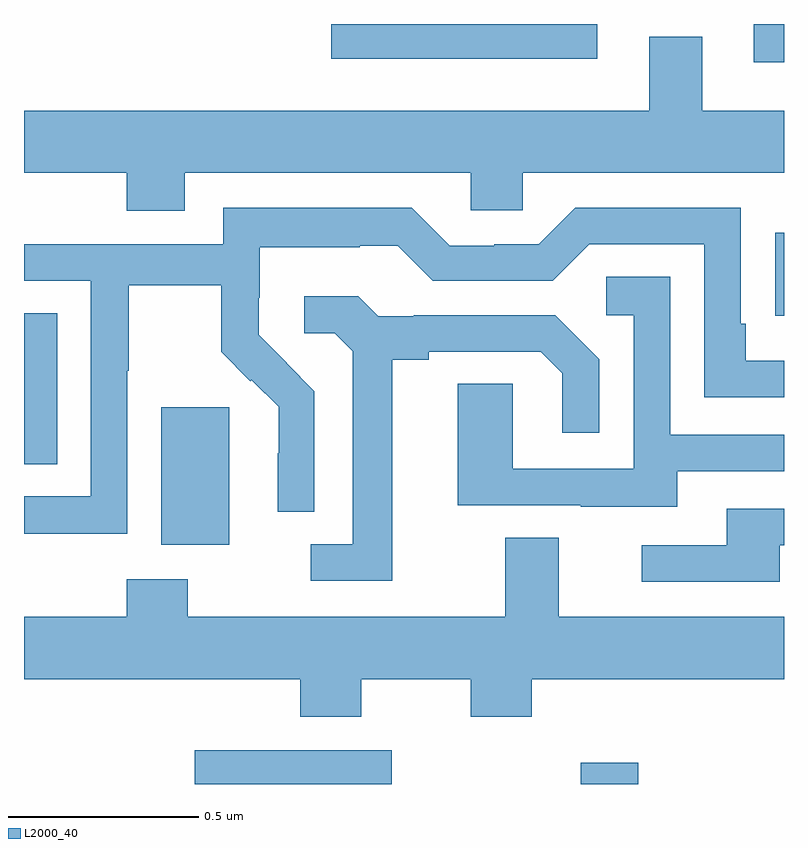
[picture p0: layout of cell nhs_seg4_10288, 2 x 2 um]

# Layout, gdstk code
import gdstk
lib = gdstk.Library(unit=1e-6, precision=1e-09)
def R(c, l, rs):  # rectangles x0, y0, x1, y1
    for r in rs: c.add(gdstk.rectangle(r[:2], r[2:], *l))
def P(c, l, *ps):  # polygons
    for p in ps: c.add(gdstk.Polygon(p, *l))
L2000_40 = (2000, 40)

nhs_seg4_10288 = lib.new_cell('nhs_seg4_10288')
R(nhs_seg4_10288, L2000_40, [(238.449,773.9,238.968,773.989), (239.465,773.9,239.617,773.956), (238.361,774.53,238.54,774.891), (238,774.742,238.087,775.139), (239.977,775.132,240,775.351), (239.921,775.8,240,775.9), (238.809,775.808,239.509,775.9)])
P(nhs_seg4_10288, L2000_40, [(238.423,775.508),(239.175,775.508),(239.175,775.41),(239.313,775.41),(239.313,775.508),(240,775.508),(240,775.672),(239.785,775.672),(239.785,775.867),(239.645,775.867),(239.645,775.672),(238,775.672),(238,775.508),(238.271,775.508),(238.271,775.409),(238.423,775.409)],
  [(238.272,774.988),(238.275,774.988),(238.275,775.212),(238.519,775.212),(238.519,775.037),(238.596,774.96),(238.599,774.963),(238.67,774.893),(238.67,774.77),(238.668,774.77),(238.668,774.616),(238.764,774.616),(238.764,774.934),(238.691,775.007),(238.692,775.008),(238.618,775.082),(238.618,775.179),(238.62,775.179),(238.62,775.313),(238.883,775.313),(238.883,775.317),(238.983,775.317),(239.076,775.224),(239.391,775.224),(239.487,775.32),(239.79,775.32),(239.79,774.918),(240,774.918),(240,775.014),(239.899,775.014),(239.899,775.111),(239.886,775.111),(239.886,775.416),(239.451,775.416),(239.355,775.32),(239.237,775.32),(239.237,775.317),(239.121,775.317),(239.021,775.417),(238.524,775.417),(238.524,775.32),(238,775.32),(238,775.224),(238.176,775.224),(238.176,774.657),(238,774.657),(238,774.559),(238.272,774.559)],
  [(239.719,774.723),(240,774.723),(240,774.819),(239.7,774.819),(239.7,775.235),(239.532,775.235),(239.532,775.134),(239.604,775.134),(239.604,774.729),(239.286,774.729),(239.286,774.953),(239.141,774.953),(239.141,774.633),(239.465,774.633),(239.465,774.629),(239.719,774.629)],
  [(238.969,775.016),(239.065,775.016),(239.065,775.038),(239.36,775.038),(239.417,774.981),(239.417,774.825),(239.514,774.825),(239.514,775.018),(239.398,775.134),(239.026,775.134),(239.026,775.131),(238.932,775.131),(238.88,775.183),(238.737,775.183),(238.737,775.086),(238.818,775.086),(238.865,775.039),(238.865,774.531),(238.755,774.531),(238.755,774.435),(238.969,774.435)],
  [(239.989,774.528),(240,774.528),(240,774.624),(239.849,774.624),(239.849,774.528),(239.625,774.528),(239.625,774.432),(239.989,774.432)],
  [(238.887,774.176),(239.176,774.176),(239.176,774.077),(239.336,774.077),(239.336,774.176),(240,774.176),(240,774.34),(239.407,774.34),(239.407,774.548),(239.267,774.548),(239.267,774.34),(238.431,774.34),(238.431,774.439),(238.271,774.439),(238.271,774.34),(238,774.34),(238,774.176),(238.727,774.176),(238.727,774.077),(238.887,774.077)])

lib.write_gds('nhs_seg4_10288.gds')
